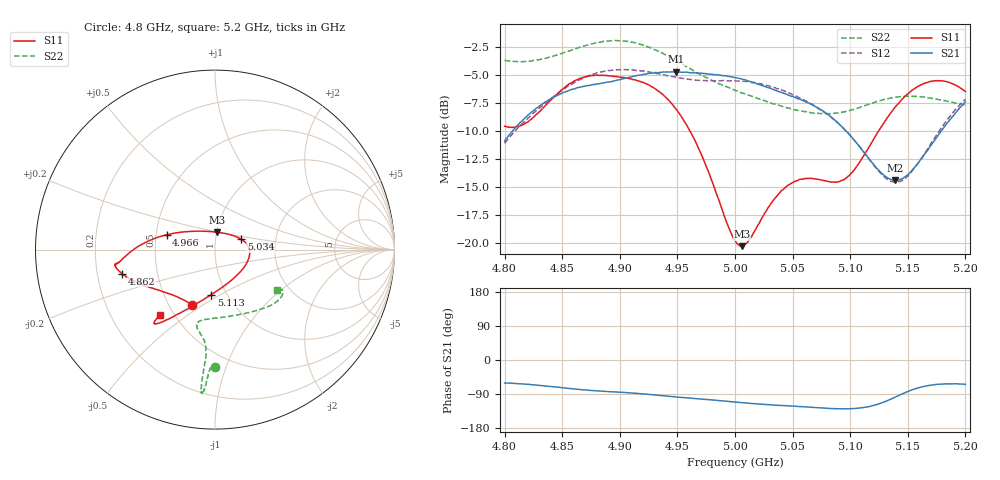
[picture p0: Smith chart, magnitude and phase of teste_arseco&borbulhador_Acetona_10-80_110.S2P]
! Network Analyzer HP8722D
! Hewlett-Packard
! Data name: Linha & Wilkinson
! Saver's name: Rodrigo Anjos
! Comments: Teste da utilização de aquisição
! continua pelo VNA HP8722D
! Time and date: 17/4/2025 15:16
!  Frequency  S11  S21  S12  S22
# HZ  S  MA R 50
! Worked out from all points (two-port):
!   401 points, 4.8 GHz to 5.2 GHz, reference 50 ohm
!   highest |S21| = -4.67 dB at 4.949 GHz (marker M1); lowest = -14.4 dB at 5.139 GHz (marker M2)
!   |S21| within 3 dB of the highest: 4.831 GHz to 5.068 GHz (236.6 MHz wide, 4.78 % of centre); 5.1972 GHz to end of sweep
!   lowest |S11| = -20.3 dB at 5.006 GHz (marker M3), VSWR 1.21, Z = 50.4 + j9.78 ohm
!   |S11| at or under -10 dB: 4.961 GHz to 5.124 GHz (163.3 MHz wide, 3.24 % of centre)
!   |S22| runs from -8.4 to -1.9 dB; largest |S21 - S12| = 0.88
!   S11 on the Smith chart (normalised r, x): 4.8 GHz: 0.65, -0.45; 4.862 GHz: 0.31, -0.12; 4.966 GHz: 0.57, +0.10; 5.034 GHz: 1.33, +0.16; 5.113 GHz: 0.85, -0.45; 5.2 GHz: 0.42, -0.39
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4.8e9  0.3333 -113.1  0.2859 -60.7  0.2798 -174.9  0.656 -89.9
4.819e9  0.3463 -133.1  0.3684 -63.8  0.3564 -173.4  0.6508 -91.5
4.862e9  0.5353 -165.5  0.493 -77.0  0.5273 -176.6  0.7418 -93.8
4.867e9  0.5479 -167.3  0.4994 -78.4  0.5425 -177.6  0.7569 -93.9
4.899e9  0.5532 -172.0  0.5372 -85.0  0.5953 175.7  0.8031 -95.3
4.934e9  0.4766 -178.0  0.579 -93.4  0.5723 172.1  0.7183 -95.7
4.949e9  0.3969 175.0  0.5842 -97.3  0.552 172.2  0.6546 -95.3
4.966e9  0.2825 163.0  0.5766 -101.8  0.5352 173.9  0.5807 -94.9
5e9  0.1031 103.0  0.5496 -111.0  0.5327 176.3  0.4829 -99.0
5.006e9  0.09705 81.9  0.5413 -112.5  0.5301 176.3  0.4698 -100.6
5.013e9  0.1047 59.7  0.5286 -114.4  0.5246 176.0  0.4564 -102.0
5.034e9  0.1572 21.8  0.4839 -119.2  0.497 175.0  0.4194 -103.6
5.05e9  0.1866 5.2  0.4534 -121.7  0.4604 174.3  0.3977 -99.6
5.067e9  0.1947 -13.0  0.4156 -124.7  0.4177 173.8  0.3821 -90.9
5.093e9  0.1913 -57.2  0.3315 -128.8  0.3305 174.1  0.3851 -70.8
5.113e9  0.2521 -94.8  0.2508 -124.7  0.2503 179.9  0.4128 -55.0
5.134e9  0.375 -116.1  0.1939 -105.0  0.1904 -157.9  0.4445 -42.9
5.139e9  0.4052 -119.1  0.1908 -98.2  0.1878 -150.0  0.4492 -40.8
5.152e9  0.4746 -124.5  0.2069 -80.7  0.2047 -130.0  0.4538 -36.0
5.17e9  0.5284 -128.6  0.2734 -66.4  0.2785 -112.5  0.4453 -31.9
5.184e9  0.5268 -129.9  0.344 -63.0  0.3555 -107.1  0.4319 -30.8
5.2e9  0.4758 -130.3  0.4285 -64.3  0.4405 -106.3  0.415 -33.2
